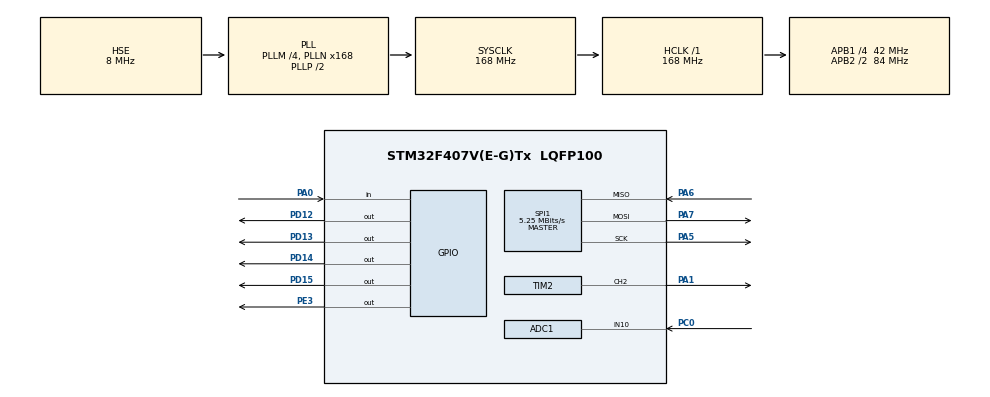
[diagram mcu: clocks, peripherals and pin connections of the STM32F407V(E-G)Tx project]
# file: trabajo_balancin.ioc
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ADC1.Channel-0\#ChannelRegularConversion=ADC_CHANNEL_10
ADC1.NbrOfConversionFlag=1
ADC1.Rank-0\#ChannelRegularConversion=1
ADC1.SamplingTime-0\#ChannelRegularConversion=ADC_SAMPLETIME_3CYCLES
ADC1.master=1
Mcu.Family=STM32F4
Mcu.Name=STM32F407V(E-G)Tx
Mcu.Package=LQFP100
NVIC.PriorityGroup=NVIC_PRIORITYGROUP_0
NVIC.TIM1_UP_TIM10_IRQn=true\:0\:0\:false\:false\:true\:false\:true
NVIC.TimeBase=TIM1_UP_TIM10_IRQn
NVIC.TimeBaseIP=TIM1
PA0-WKUP.Signal=GPIO_Input
PA1.Signal=S_TIM2_CH2
PA5.Mode=Full_Duplex_Master
PA5.Signal=SPI1_SCK
PA6.Mode=Full_Duplex_Master
PA6.Signal=SPI1_MISO
PA7.Mode=Full_Duplex_Master
PA7.Signal=SPI1_MOSI
PC0.Signal=ADCx_IN10
PD12.Signal=GPIO_Output
PD13.Signal=GPIO_Output
PD14.Signal=GPIO_Output
PD15.Signal=GPIO_Output
PE3.PinState=GPIO_PIN_SET
PE3.Signal=GPIO_Output
PH0-OSC_IN.Mode=HSE-External-Oscillator
PH0-OSC_IN.Signal=RCC_OSC_IN
PH1-OSC_OUT.Mode=HSE-External-Oscillator
PH1-OSC_OUT.Signal=RCC_OSC_OUT
ProjectManager.HeapSize=0x200
ProjectManager.StackSize=0x400
ProjectManager.TargetToolchain=STM32CubeIDE
RCC.48MHZClocksFreq_Value=48000000
RCC.AHBFreq_Value=168000000
RCC.APB1CLKDivider=RCC_HCLK_DIV4
RCC.APB1Freq_Value=42000000
RCC.APB1TimFreq_Value=84000000
RCC.APB2CLKDivider=RCC_HCLK_DIV2
RCC.APB2Freq_Value=84000000
RCC.APB2TimFreq_Value=168000000
RCC.CortexFreq_Value=168000000
RCC.HCLKFreq_Value=168000000
RCC.HSE_VALUE=8000000
RCC.HSI_VALUE=16000000
RCC.LSE_VALUE=32768
RCC.PLLM=4
RCC.PLLN=168
RCC.PLLQ=7
RCC.PLLSourceVirtual=RCC_PLLSOURCE_HSE
RCC.SYSCLKFreq_VALUE=168000000
RCC.SYSCLKSource=RCC_SYSCLKSOURCE_PLLCLK
RCC.VCOOutputFreq_Value=336000000
SH.ADCx_IN10.0=ADC1_IN10,IN10
SH.S_TIM2_CH2.0=TIM2_CH2,PWM Generation2 CH2
SPI1.BaudRatePrescaler=SPI_BAUDRATEPRESCALER_16
SPI1.CalculateBaudRate=5.25 MBits/s
SPI1.Direction=SPI_DIRECTION_2LINES
SPI1.Mode=SPI_MODE_MASTER
SPI1.VirtualType=VM_MASTER
TIM2.Channel-PWM\ Generation2\ CH2=TIM_CHANNEL_2
TIM2.Period=20000
TIM2.Prescaler=83
VP_SYS_VS_tim1.Mode=TIM1
VP_TIM2_VS_ClockSourceINT.Mode=Internal
board=STM32F407G-DISC1

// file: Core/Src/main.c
/* USER CODE BEGIN Header */
/**
  ******************************************************************************
  * @file           : main.c
  * @brief          : Main program body
  ******************************************************************************
  * @attention
  *
  * <h2><center>&copy; Copyright (c) 2021 STMicroelectronics.
  * All rights reserved.</center></h2>
  *
  * This software component is licensed by ST under BSD 3-Clause license,
  * the "License"; You may not use this file except in compliance with the
  * License. You may obtain a copy of the License at:
  *                        opensource.org/licenses/BSD-3-Clause
  *
  ******************************************************************************
  */
/* USER CODE END Header */
#include "main.h"

ADC_HandleTypeDef hadc1;

SPI_HandleTypeDef hspi1;

TIM_HandleTypeDef htim2;

/* USER CODE BEGIN PV */
	int mode = 0;
	int16_t angle;
	int pot;
	int16_t adcval;
	uint8_t spiTxBuf[2];
	uint8_t spiRxBuf[7];
	uint8_t reg_value;
	volatile int16_t accel_x;
	volatile int16_t accel_y;
	volatile int16_t accel_z;
	uint32_t tickstart;

/* USER CODE END PV */

void SystemClock_Config(void);
static void MX_GPIO_Init(void);
static void MX_ADC1_Init(void);
static void MX_SPI1_Init(void);
static void MX_TIM2_Init(void);

/* USER CODE BEGIN 0 */
int16_t map_acc(int16_t accel_x, int in_min, int in_max, int out_min, int out_max)
{
	if (accel_x > 16384) return 2500;
	else if (accel_x < -16384) return 600;
	else if(accel_x < 300 && accel_x > -300) return 1550;
	return (accel_x - in_min) * (out_max - out_min) / (in_max - in_min) + out_min;
}
int16_t map_adc(int16_t adc, int in_min, int in_max, int out_min, int out_max)
{
	return (adc - in_min) * (out_max - out_min) / (in_max - in_min) + out_min;
}
/* USER CODE END 0 */

int main(void)
{

  /* MCU Configuration--------------------------------------------------------*/

  /* Reset of all peripherals, Initializes the Flash interface and the Systick. */
  HAL_Init();

  /* Configure the system clock */
  SystemClock_Config();

  /* Initialize all configured peripherals */
  MX_GPIO_Init();
  MX_ADC1_Init();
  MX_SPI1_Init();
  MX_TIM2_Init();
  /* USER CODE BEGIN 2 */
  HAL_TIM_PWM_Start(&htim2, TIM_CHANNEL_2);
  	  HAL_GPIO_WritePin(GPIOE,GPIO_PIN_3,GPIO_PIN_SET); //Aseguro que no haya comunicación antes
  	  HAL_Delay(20);

  	  // Activación de los registros para la lectura de datos
  	  HAL_GPIO_WritePin(GPIOE,GPIO_PIN_3,GPIO_PIN_RESET); //Comienzo la transmisión de datos por SPI
  	  HAL_Delay(20);
  	  spiTxBuf[0]=0x20; //Accedo al registro 0x20 (Control Regist 4)
  	  spiTxBuf[1]=0x67; //Activo los elementos 0x67 (en decimal = 103; binario = 0110_0111) Para q los outputs vayan a 100Hz de tasa de refresco
  	  HAL_SPI_Transmit(&hspi1,spiTxBuf,2,50);
  	  HAL_GPIO_WritePin(GPIOE,GPIO_PIN_3,GPIO_PIN_SET); //Fin de la transmisión de datos por SPI
  	  HAL_Delay(20);

  	  //Lectura de los registros escritos para comprobar que se han escrito correctamente
  	  HAL_GPIO_WritePin(GPIOE,GPIO_PIN_3,GPIO_PIN_RESET);
  	  HAL_Delay(20);
  	  spiTxBuf[0]=0x20|0x80; //Accedo al registro 0x20 = 0010_0000 (Control Regist 4) e Indico que voy a LEER 0x80 = 1000_0000
  	  HAL_SPI_Transmit(&hspi1,spiTxBuf,1,50); //Indico lo que quiero leer
  	  HAL_SPI_Receive(&hspi1,&spiRxBuf[0],1,50);
  	  HAL_GPIO_WritePin(GPIOE,GPIO_PIN_3,GPIO_PIN_SET); //Fin de la transmisión de datos por SPI
  	  HAL_Delay(20);

  	  reg_value = spiRxBuf[0];
  /* USER CODE END 2 */

  /* Infinite loop */
  while (1)
  {
	  if(HAL_GPIO_ReadPin(GPIOA, GPIO_PIN_0)){
	  		  if(mode == 1)
	  		  	  mode = 0;
	  		  else
	  			  mode = 1;
	  		tickstart = HAL_GetTick();
	  		while(HAL_GetTick() - tickstart <= 300) continue;
	  	  }
	  if(mode == 0)
	  	  {
	  		  HAL_GPIO_WritePin(GPIOE,GPIO_PIN_3,GPIO_PIN_RESET);
	  		  	  	  	  //HAL_Delay(10);
	  		  	  	  	  spiTxBuf[0]=0x28|0x80;
	  		  	  	  	  HAL_SPI_Transmit(&hspi1,spiTxBuf,1,50);
	  		  	  	  	  HAL_SPI_Receive(&hspi1,&spiRxBuf[1],1,50);
	  		  	  	  	  HAL_GPIO_WritePin(GPIOE,GPIO_PIN_3,GPIO_PIN_SET);
	  		  	  	  	  //HAL_Delay(10);

	  		  	  	  	  HAL_GPIO_WritePin(GPIOE,GPIO_PIN_3,GPIO_PIN_RESET);
	  		  	  	  	  //HAL_Delay(10);
	  		  	  	  	  spiTxBuf[0]=0x29|0x80;
	  		  	  	  	  HAL_SPI_Transmit(&hspi1,spiTxBuf,1,50);
	  		  	  	  	  HAL_SPI_Receive(&hspi1,&spiRxBuf[2],1,50);
	  		  	  	  	  HAL_GPIO_WritePin(GPIOE,GPIO_PIN_3,GPIO_PIN_SET);
	  		  	  	  	  //HAL_Delay(10);

	  		  	  	  	  HAL_GPIO_WritePin(GPIOE,GPIO_PIN_3,GPIO_PIN_RESET);
	  		  	  	  	  //HAL_Delay(10);
	  		  	  	  	  spiTxBuf[0]=0x2a|0x80;
	  		  	  	  	  HAL_SPI_Transmit(&hspi1,spiTxBuf,1,50);
	  		  	  	  	  HAL_SPI_Receive(&hspi1,&spiRxBuf[3],1,50);
	  		  	  	  	  HAL_GPIO_WritePin(GPIOE,GPIO_PIN_3,GPIO_PIN_SET);
	  		  	  	  	  //HAL_Delay(10);

	  		  	  	  	  HAL_GPIO_WritePin(GPIOE,GPIO_PIN_3,GPIO_PIN_RESET);
	  		  	  	  	  //HAL_Delay(10);
	  		  	  	  	  spiTxBuf[0]=0x2b|0x80;
	  		  	  	  	  HAL_SPI_Transmit(&hspi1,spiTxBuf,1,50);
	  		  	  	  	  HAL_SPI_Receive(&hspi1,&spiRxBuf[4],1,50);
	  		  	  	  	  HAL_GPIO_WritePin(GPIOE,GPIO_PIN_3,GPIO_PIN_SET);
	  		  	  	  	  //HAL_Delay(10);

	  		  	  	  	  HAL_GPIO_WritePin(GPIOE,GPIO_PIN_3,GPIO_PIN_RESET);
	  		  	  	  	  //HAL_Delay(10);
	  		  	  	  	  spiTxBuf[0]=0x2c|0x80;
	  		  	  	  	  HAL_SPI_Transmit(&hspi1,spiTxBuf,1,50);
	  		  	  	  	  HAL_SPI_Receive(&hspi1,&spiRxBuf[5],1,50);
	  		  	  	  	  HAL_GPIO_WritePin(GPIOE,GPIO_PIN_3,GPIO_PIN_SET);
	  		  	  	  	  //HAL_Delay(10);

	  		  	  	  	  HAL_GPIO_WritePin(GPIOE,GPIO_PIN_3,GPIO_PIN_RESET);
	  		  	  	  	  //HAL_Delay(10);
	  		  	  	  	  spiTxBuf[0]=0x2d|0x80;
	  		  	  	  	  HAL_SPI_Transmit(&hspi1,spiTxBuf,1,50);
	  		  	  	  	  HAL_SPI_Receive(&hspi1,&spiRxBuf[6],1,50);
	  		  	  	  	  HAL_GPIO_WritePin(GPIOE,GPIO_PIN_3,GPIO_PIN_SET);
	  		  	  	  	  //HAL_Delay(10);

	  		  	  	  	  // Carga de los datos del buffer a las variables
	  		  	  	  	  accel_x = (spiRxBuf[2]<<8)|spiRxBuf[1];
	  		  	  	  	  accel_y = (spiRxBuf[4]<<8)|spiRxBuf[3];
	  		  	  	  	  accel_z = (spiRxBuf[6]<<8)|spiRxBuf[5];

	  		  angle = map_acc(accel_x, -16384, 16384, 600, 2500);
	  	  }
	  	  else
	  	  {
	  		  HAL_ADC_Start(&hadc1);
	  		  if(HAL_ADC_PollForConversion(&hadc1, 100)==HAL_OK)
	  			  adcval = HAL_ADC_GetValue(&hadc1);
	  		  HAL_ADC_Stop(&hadc1);
	  		  angle = map_adc(adcval, 0, 4096, 600, 2500);
	  	  }
	  	  __HAL_TIM_SET_COMPARE(&htim2, TIM_CHANNEL_2, angle);

  }
}

void SystemClock_Config(void)
{
  RCC_OscInitTypeDef RCC_OscInitStruct = {0};
  RCC_ClkInitTypeDef RCC_ClkInitStruct = {0};

  /** Configure the main internal regulator output voltage
  */
  __HAL_RCC_PWR_CLK_ENABLE();
  __HAL_PWR_VOLTAGESCALING_CONFIG(PWR_REGULATOR_VOLTAGE_SCALE1);
  /** Initializes the RCC Oscillators according to the specified parameters
  * in the RCC_OscInitTypeDef structure.
  */
  RCC_OscInitStruct.OscillatorType = RCC_OSCILLATORTYPE_HSE;
  RCC_OscInitStruct.HSEState = RCC_HSE_ON;
  RCC_OscInitStruct.PLL.PLLState = RCC_PLL_ON;
  RCC_OscInitStruct.PLL.PLLSource = RCC_PLLSOURCE_HSE;
  RCC_OscInitStruct.PLL.PLLM = 4;
  RCC_OscInitStruct.PLL.PLLN = 168;
  RCC_OscInitStruct.PLL.PLLP = RCC_PLLP_DIV2;
  RCC_OscInitStruct.PLL.PLLQ = 7;
  if (HAL_RCC_OscConfig(&RCC_OscInitStruct) != HAL_OK)
  {
    Error_Handler();
  }
  /** Initializes the CPU, AHB and APB buses clocks
  */
  RCC_ClkInitStruct.ClockType = RCC_CLOCKTYPE_HCLK|RCC_CLOCKTYPE_SYSCLK
                              |RCC_CLOCKTYPE_PCLK1|RCC_CLOCKTYPE_PCLK2;
  RCC_ClkInitStruct.SYSCLKSource = RCC_SYSCLKSOURCE_PLLCLK;
  RCC_ClkInitStruct.AHBCLKDivider = RCC_SYSCLK_DIV1;
  RCC_ClkInitStruct.APB1CLKDivider = RCC_HCLK_DIV4;
  RCC_ClkInitStruct.APB2CLKDivider = RCC_HCLK_DIV2;

  if (HAL_RCC_ClockConfig(&RCC_ClkInitStruct, FLASH_LATENCY_5) != HAL_OK)
  {
    Error_Handler();
  }
}

static void MX_ADC1_Init(void)
{

  ADC_ChannelConfTypeDef sConfig = {0};

  /** Configure the global features of the ADC (Clock, Resolution, Data Alignment and number of conversion)
  */
  hadc1.Instance = ADC1;
  hadc1.Init.ClockPrescaler = ADC_CLOCK_SYNC_PCLK_DIV4;
  hadc1.Init.Resolution = ADC_RESOLUTION_12B;
  hadc1.Init.ScanConvMode = DISABLE;
  hadc1.Init.ContinuousConvMode = DISABLE;
  hadc1.Init.DiscontinuousConvMode = DISABLE;
  hadc1.Init.ExternalTrigConvEdge = ADC_EXTERNALTRIGCONVEDGE_NONE;
  hadc1.Init.ExternalTrigConv = ADC_SOFTWARE_START;
  hadc1.Init.DataAlign = ADC_DATAALIGN_RIGHT;
  hadc1.Init.NbrOfConversion = 1;
  hadc1.Init.DMAContinuousRequests = DISABLE;
  hadc1.Init.EOCSelection = ADC_EOC_SINGLE_CONV;
  if (HAL_ADC_Init(&hadc1) != HAL_OK)
  {
    Error_Handler();
  }
  /** Configure for the selected ADC regular channel its corresponding rank in the sequencer and its sample time.
  */
  sConfig.Channel = ADC_CHANNEL_10;
  sConfig.Rank = 1;
  sConfig.SamplingTime = ADC_SAMPLETIME_3CYCLES;
  if (HAL_ADC_ConfigChannel(&hadc1, &sConfig) != HAL_OK)
  {
    Error_Handler();
  }

}

static void MX_SPI1_Init(void)
{

  /* SPI1 parameter configuration*/
  hspi1.Instance = SPI1;
  hspi1.Init.Mode = SPI_MODE_MASTER;
  hspi1.Init.Direction = SPI_DIRECTION_2LINES;
  hspi1.Init.DataSize = SPI_DATASIZE_8BIT;
  hspi1.Init.CLKPolarity = SPI_POLARITY_LOW;
  hspi1.Init.CLKPhase = SPI_PHASE_1EDGE;
  hspi1.Init.NSS = SPI_NSS_SOFT;
  hspi1.Init.BaudRatePrescaler = SPI_BAUDRATEPRESCALER_16;
  hspi1.Init.FirstBit = SPI_FIRSTBIT_MSB;
  hspi1.Init.TIMode = SPI_TIMODE_DISABLE;
  hspi1.Init.CRCCalculation = SPI_CRCCALCULATION_DISABLE;
  hspi1.Init.CRCPolynomial = 10;
  if (HAL_SPI_Init(&hspi1) != HAL_OK)
  {
    Error_Handler();
  }

}

static void MX_TIM2_Init(void)
{

  TIM_ClockConfigTypeDef sClockSourceConfig = {0};
  TIM_MasterConfigTypeDef sMasterConfig = {0};
  TIM_OC_InitTypeDef sConfigOC = {0};

  htim2.Instance = TIM2;
  htim2.Init.Prescaler = 83;
  htim2.Init.CounterMode = TIM_COUNTERMODE_UP;
  htim2.Init.Period = 20000;
  htim2.Init.ClockDivision = TIM_CLOCKDIVISION_DIV1;
  htim2.Init.AutoReloadPreload = TIM_AUTORELOAD_PRELOAD_DISABLE;
  if (HAL_TIM_Base_Init(&htim2) != HAL_OK)
  {
    Error_Handler();
  }
  sClockSourceConfig.ClockSource = TIM_CLOCKSOURCE_INTERNAL;
  if (HAL_TIM_ConfigClockSource(&htim2, &sClockSourceConfig) != HAL_OK)
  {
    Error_Handler();
  }
  if (HAL_TIM_PWM_Init(&htim2) != HAL_OK)
  {
    Error_Handler();
  }
  sMasterConfig.MasterOutputTrigger = TIM_TRGO_RESET;
  sMasterConfig.MasterSlaveMode = TIM_MASTERSLAVEMODE_DISABLE;
  if (HAL_TIMEx_MasterConfigSynchronization(&htim2, &sMasterConfig) != HAL_OK)
  {
    Error_Handler();
  }
  sConfigOC.OCMode = TIM_OCMODE_PWM1;
  sConfigOC.Pulse = 0;
  sConfigOC.OCPolarity = TIM_OCPOLARITY_HIGH;
  sConfigOC.OCFastMode = TIM_OCFAST_DISABLE;
  if (HAL_TIM_PWM_ConfigChannel(&htim2, &sConfigOC, TIM_CHANNEL_2) != HAL_OK)
  {
    Error_Handler();
  }
  HAL_TIM_MspPostInit(&htim2);

}

static void MX_GPIO_Init(void)
{
  GPIO_InitTypeDef GPIO_InitStruct = {0};

  /* GPIO Ports Clock Enable */
  __HAL_RCC_GPIOE_CLK_ENABLE();
  __HAL_RCC_GPIOH_CLK_ENABLE();
  __HAL_RCC_GPIOC_CLK_ENABLE();
  __HAL_RCC_GPIOA_CLK_ENABLE();
  __HAL_RCC_GPIOD_CLK_ENABLE();

  /*Configure GPIO pin Output Level */
  HAL_GPIO_WritePin(GPIOE, GPIO_PIN_3, GPIO_PIN_SET);

  /*Configure GPIO pin Output Level */
  HAL_GPIO_WritePin(GPIOD, GPIO_PIN_12|GPIO_PIN_13|GPIO_PIN_14|GPIO_PIN_15, GPIO_PIN_RESET);

  /*Configure GPIO pin : PE3 */
  GPIO_InitStruct.Pin = GPIO_PIN_3;
  GPIO_InitStruct.Mode = GPIO_MODE_OUTPUT_PP;
  GPIO_InitStruct.Pull = GPIO_NOPULL;
  GPIO_InitStruct.Speed = GPIO_SPEED_FREQ_LOW;
  HAL_GPIO_Init(GPIOE, &GPIO_InitStruct);

  /*Configure GPIO pin : PA0 */
  GPIO_InitStruct.Pin = GPIO_PIN_0;
  GPIO_InitStruct.Mode = GPIO_MODE_INPUT;
  GPIO_InitStruct.Pull = GPIO_NOPULL;
  HAL_GPIO_Init(GPIOA, &GPIO_InitStruct);

  /*Configure GPIO pins : PD12 PD13 PD14 PD15 */
  GPIO_InitStruct.Pin = GPIO_PIN_12|GPIO_PIN_13|GPIO_PIN_14|GPIO_PIN_15;
  GPIO_InitStruct.Mode = GPIO_MODE_OUTPUT_PP;
  GPIO_InitStruct.Pull = GPIO_NOPULL;
  GPIO_InitStruct.Speed = GPIO_SPEED_FREQ_LOW;
  HAL_GPIO_Init(GPIOD, &GPIO_InitStruct);

}

void HAL_TIM_PeriodElapsedCallback(TIM_HandleTypeDef *htim)
{
  if (htim->Instance == TIM1) {
    HAL_IncTick();
  }
}

void Error_Handler(void)
{
  __disable_irq();
  while (1)
  {
  }
}

/************************ (C) COPYRIGHT STMicroelectronics *****END OF FILE****/
